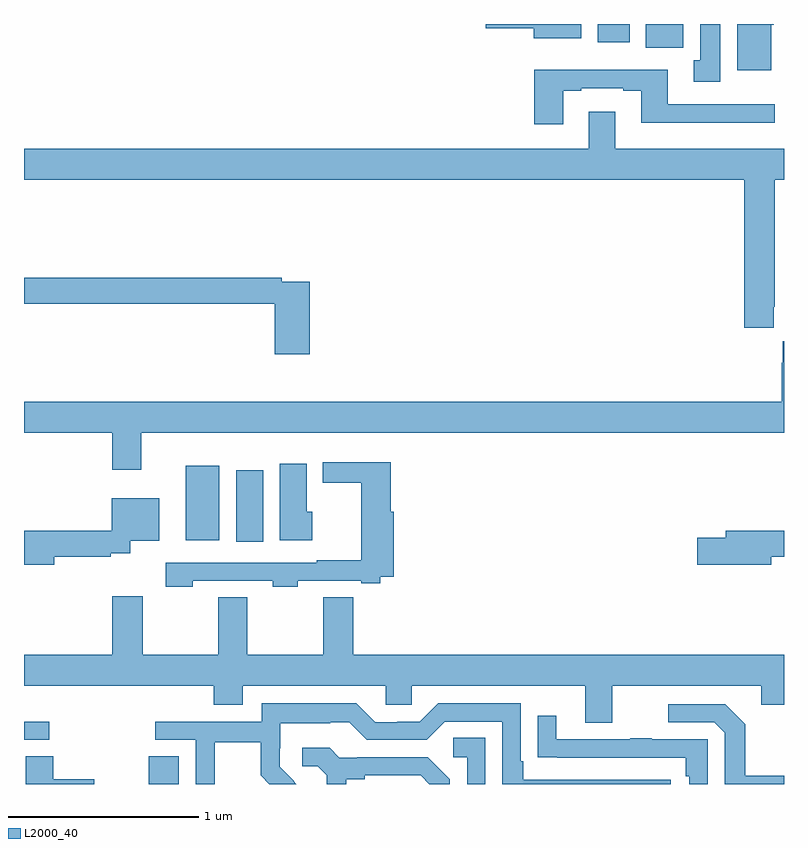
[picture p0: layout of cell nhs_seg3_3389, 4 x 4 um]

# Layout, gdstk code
import gdstk
lib = gdstk.Library(unit=1e-6, precision=1e-09)
def R(c, l, rs):  # rectangles x0, y0, x1, y1
    for r in rs: c.add(gdstk.rectangle(r[:2], r[2:], *l))
def P(c, l, *ps):  # polygons
    for p in ps: c.add(gdstk.Polygon(p, *l))
L2000_40 = (2000, 40)

nhs_seg3_3389 = lib.new_cell('nhs_seg3_3389')
R(nhs_seg3_3389, L2000_40, [(287.657,700.4,287.815,700.547), (287,700.632,287.134,700.728), (288.116,701.676,288.259,702.052), (287.852,701.684,288.028,702.076), (290.273,704.276,290.47,704.4), (290.021,704.304,290.188,704.4)])
P(nhs_seg3_3389, L2000_40, [(290.665,704.4),(290.558,704.4),(290.558,704.21),(290.525,704.21),(290.525,704.097),(290.665,704.097)],
  [(289.933,704.4),(289.43,704.4),(289.43,704.378),(289.682,704.378),(289.682,704.324),(289.933,704.324)],
  [(290.932,704.396),(290.945,704.396),(290.945,704.4),(290.753,704.4),(290.753,704.156),(290.932,704.156)],
  [(289.837,704.049),(289.933,704.049),(289.933,704.061),(290.153,704.061),(290.153,704.049),(290.249,704.049),(290.249,703.88),(290.95,703.88),(290.95,703.977),(290.389,703.977),(290.389,704.158),(289.685,704.158),(289.685,703.872),(289.837,703.872)],
  [(290.947,702.913),(290.952,702.913),(290.952,703.58),(291,703.58),(291,703.744),(290.113,703.744),(290.113,703.939),(289.973,703.939),(289.973,703.744),(287,703.744),(287,703.58),(290.792,703.58),(290.792,702.801),(290.947,702.801)],
  [(288.503,703.044),(288.356,703.044),(288.356,703.064),(287,703.064),(287,702.928),(288.32,702.928),(288.32,702.663),(288.503,702.663)],
  [(287.617,702.248),(291,702.248),(291,702.73),(290.993,702.73),(290.993,702.617),(290.987,702.617),(290.987,702.412),(287,702.412),(287,702.248),(287.465,702.248),(287.465,702.054),(287.617,702.054)],
  [(287.889,701.469),(288.309,701.469),(288.309,701.437),(288.441,701.437),(288.441,701.469),(288.776,701.469),(288.776,701.457),(288.876,701.457),(288.876,701.492),(288.947,701.492),(288.947,701.832),(288.929,701.832),(288.929,702.094),(288.573,702.094),(288.573,701.985),(288.776,701.985),(288.776,701.578),(288.541,701.578),(288.541,701.565),(287.745,701.565),(287.745,701.437),(287.889,701.437)],
  [(288.517,701.832),(288.487,701.832),(288.487,702.085),(288.347,702.085),(288.347,701.684),(288.517,701.684)],
  [(287.158,701.596),(287.456,701.596),(287.456,701.614),(287.559,701.614),(287.559,701.681),(287.713,701.681),(287.713,701.905),(287.463,701.905),(287.463,701.732),(287,701.732),(287,701.554),(287.158,701.554)],
  [(290.932,701.596),(291,701.596),(291,701.732),(290.693,701.732),(290.693,701.696),(290.544,701.696),(290.544,701.554),(290.932,701.554)],
  [(288.734,701.384),(288.574,701.384),(288.574,701.08),(288.176,701.08),(288.176,701.384),(288.022,701.384),(288.022,701.08),(287.625,701.08),(287.625,701.389),(287.465,701.389),(287.465,701.08),(287,701.08),(287,700.916),(287.999,700.916),(287.999,700.817),(288.151,700.817),(288.151,700.916),(288.903,700.916),(288.903,700.818),(289.041,700.818),(289.041,700.916),(289.955,700.916),(289.955,700.722),(290.095,700.722),(290.095,700.916),(290.879,700.916),(290.879,700.817),(291,700.817),(291,701.08),(288.734,701.08)],
  [(288.003,700.62),(288.247,700.62),(288.247,700.445),(288.292,700.4),(288.434,700.4),(288.419,700.415),(288.42,700.416),(288.346,700.49),(288.346,700.587),(288.348,700.587),(288.348,700.721),(288.611,700.721),(288.611,700.725),(288.711,700.725),(288.804,700.632),(289.119,700.632),(289.215,700.728),(289.518,700.728),(289.518,700.4),(290.404,700.4),(290.404,700.422),(289.627,700.422),(289.627,700.519),(289.614,700.519),(289.614,700.824),(289.179,700.824),(289.083,700.728),(288.965,700.728),(288.965,700.725),(288.849,700.725),(288.749,700.825),(288.252,700.825),(288.252,700.728),(287.691,700.728),(287.691,700.632),(287.904,700.632),(287.904,700.4),(288.003,700.4)],
  [(291,700.443),(290.797,700.443),(290.797,700.715),(290.691,700.821),(290.391,700.821),(290.391,700.725),(290.634,700.725),(290.688,700.671),(290.688,700.4),(291,700.4)],
  [(290.598,700.635),(290.303,700.635),(290.303,700.64),(290.191,700.64),(290.191,700.635),(289.801,700.635),(289.801,700.759),(289.705,700.759),(289.705,700.54),(289.807,700.54),(289.807,700.539),(290.482,700.539),(290.482,700.442),(290.502,700.442),(290.502,700.4),(290.598,700.4)],
  [(289.428,700.643),(289.26,700.643),(289.26,700.542),(289.332,700.542),(289.332,700.4),(289.428,700.4)],
  [(288.697,700.424),(288.793,700.424),(288.793,700.446),(289.088,700.446),(289.134,700.4),(289.242,700.4),(289.242,700.426),(289.126,700.542),(288.754,700.542),(288.754,700.539),(288.66,700.539),(288.608,700.591),(288.465,700.591),(288.465,700.494),(288.546,700.494),(288.593,700.447),(288.593,700.4),(288.697,700.4)],
  [(287.371,700.424),(287.153,700.424),(287.153,700.547),(287.009,700.547),(287.009,700.4),(287.371,700.4)])

lib.write_gds('nhs_seg3_3389.gds')
